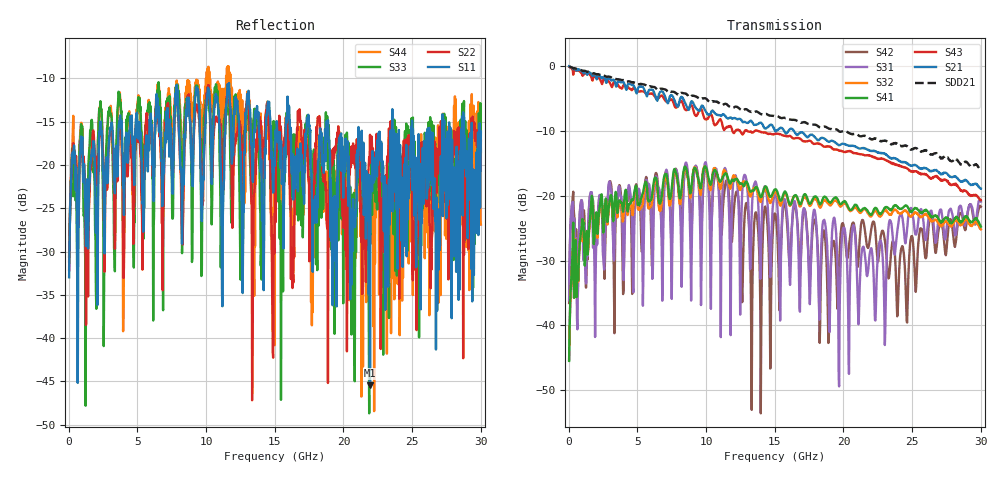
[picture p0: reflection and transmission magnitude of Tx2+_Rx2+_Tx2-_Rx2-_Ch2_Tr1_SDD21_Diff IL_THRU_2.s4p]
! MS46524B
! 2314202/M1: 22492055/M2: 21112458
! 12/30/2025 3:20:31 PM
! C:\ANRITSUVNA\TEMP\2.S4P
! CHANNEL.2
! TR.MEASUREMENT
! CORRECTED.DATA
# GHZ S RI R 50.0
! FREQ.GHZ  S11RE  S11IM  S12RE  S12IM  S13RE  S13IM  S14RE  S14IM
!  S21RE  S21IM  S22RE  S22IM  S23RE  S23IM  S24RE  S24IM
!  S31RE  S31IM  S32RE  S32IM  S33RE  S33IM  S34RE  S34IM
!  S41RE  S41IM  S42RE  S42IM  S43RE  S43IM  S44RE  S44IM
!; PortSelection: Port_1234
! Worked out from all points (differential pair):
!   1000 points, 30 MHz to 30 GHz, reference 50 ohm
!   strongest paths, dB at 30 MHz, 7.53 GHz, 15.03 GHz, 22.53 GHz, 30 GHz:
!     S21: 0.0, -4.5, -10.0, -13.4, -18.9
!     S43: -0.1, -5.2, -10.5, -14.4, -20.7
!     S41: -45.5, -18.2, -19.0, -22.5, -24.8
!     S32: -45.3, -18.7, -19.4, -23.0, -25.2
!     S31: -36.1, -29.2, -19.9, -28.6, -20.9
!     S42: -36.6, -25.4, -22.8, -30.1, -21.7
!   taken as a pair (ports 1,3 in; 2,4 out), SDD21 dB: -0.1, -4.0, -7.7, -11.5, -16.1
!   lowest |S11| = -45.5 dB at 21.93 GHz (marker M1), VSWR 1.01, Z = 50 - j0.532 ohm
!   |S11| at or under -10 dB: start of sweep to end of sweep
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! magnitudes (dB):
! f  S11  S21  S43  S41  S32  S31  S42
! 30 MHz  -33.0  0.0  -0.1  -45.5  -45.3  -36.1  -36.6
! 7.74 GHz  -13.9  -5.6  -6.3  -16.0  -16.4  -16.2  -16.0
! 14.46 GHz  -13.3  -9.5  -10.4  -19.1  -19.7  -21.0  -24.3
! 14.85 GHz  -21.2  -9.3  -10.6  -19.6  -20.1  -21.8  -25.7
! 15.33 GHz  -18.0  -9.7  -10.5  -20.4  -21.1  -30.3  -37.4
! 21.93 GHz  -45.5  -13.1  -13.8  -22.9  -23.2  -28.7  -26.6
! 30 GHz  -16.1  -18.9  -20.7  -24.8  -25.2  -20.9  -21.7
